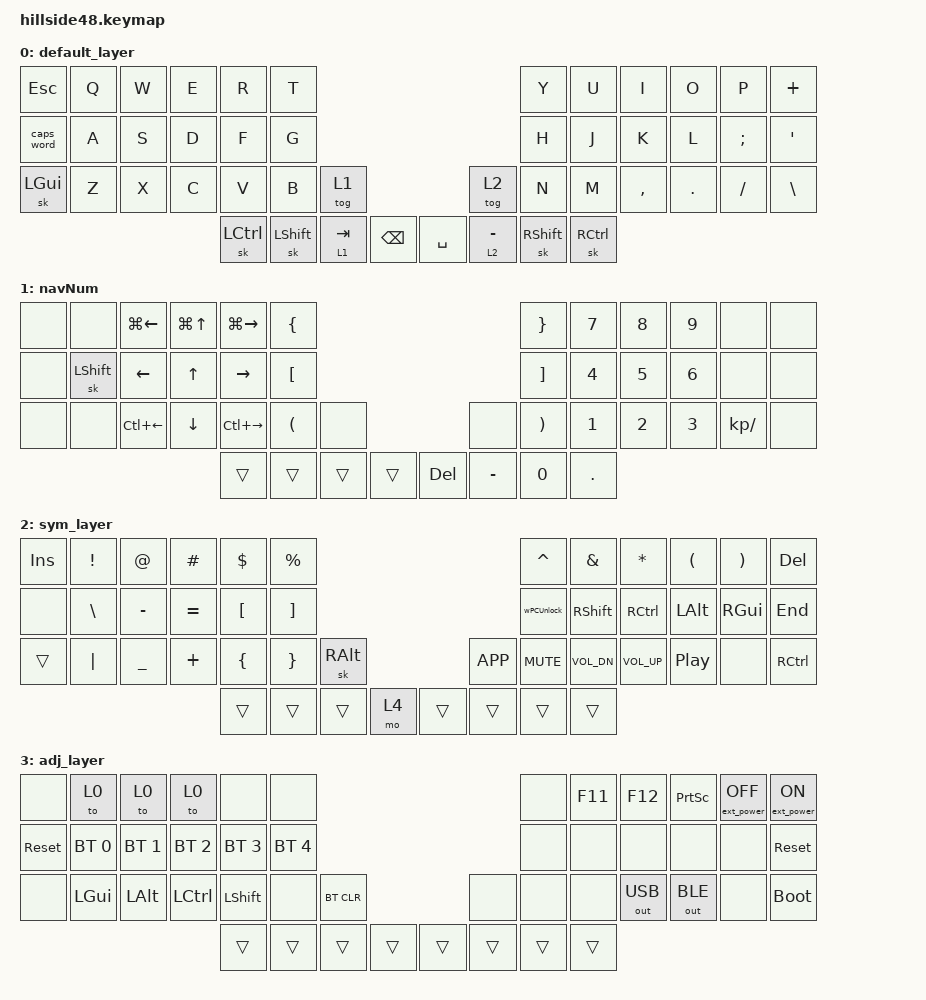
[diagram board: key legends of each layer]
/*
 * Copyright (c) 2021-2022 The ZMK Contributors
 *
 * SPDX-License-Identifier: MIT
 */

#include <behaviors.dtsi>
#include <dt-bindings/zmk/bt.h>
#include <dt-bindings/zmk/ext_power.h>
#include <dt-bindings/zmk/keys.h>
#include <dt-bindings/zmk/outputs.h>

#define QWERTY_L 0
#define DVORAK_L 1
#define COLEMK_L 2
#define NAV_L    3
#define SYM_L    4
#define ADJ_L    5
#define Undo   LC(Z)
#define Cut    LC(X)
#define Copy   LC(C)
#define Paste  LC(V)
#define Redo   LC(Y)

/ {
    combos {
        compatible = "zmk,combos";

        Enter {
            bindings = <&kp KP_ENTER>;
            key-positions = <19 20>;
        };

        AltTab {
            bindings = <&kp LA(TAB)>;
            key-positions = <6 7>;
        };

        capslock {
            bindings = <&kp CAPSLOCK>;
            key-positions = <44 39>;
        };

        bangit {
            bindings = <&kp F5>;
            key-positions = <41 42>;
        };

        screenshot {
            bindings = <&wScreenShot>;
            key-positions = <40 43>;
        };
    };

    macros {
        wPCUnlock: wPCUnlock {
            compatible = "zmk,behavior-macro";
            #binding-cells = <0>;
            bindings = <&none &kp LS(R) &kp E &kp N &kp N &kp A &kp T &kp R &kp E &kp K &kp A &kp B &kp N1 &kp N3 &kp N2 &kp N1 &kp N1 &kp RET>;
            label = "WPCUNLOCK";
        };

        wScreenShot: wScreenShot {
            compatible = "zmk,behavior-macro";
            #binding-cells = <0>;
            bindings = <&kp RC(RS(ENTER))>;
            label = "WSCREENSHOT";
        };
    };

    keymap {
        compatible = "zmk,keymap";

        default_layer {
            /* QWERTY
 * -------------------------------------------------------------------------------------------------------------------------------------
 * | `     |   Q   |   W   |   E   |   R   |   T   |-----------------------------------|   Y   |   U   |   I   |   O   |   P   | BKSPC |
 * | TAB   |   A   |   S   |   D   |   F   |   G   |-----------------------------------|   H   |   J   |   K   |   L   |   ;   | ENTER |
 * | CTRL  |   Z   |   X   |   C   |   V   |   B   |  ESC  |-------------------|  CAPS |   N   |   M   |   ,   |   .   |   /   |   '   |
 *                                 |  GUI  |  ALT  |SK SHFT|  Nav  |---|  Sym  | SPACE |  ALT  |  GUI  |
 */

            bindings = <
&kp ESCAPE    &kp Q  &kp W  &kp E  &kp R      &kp T                                                               &kp Y      &kp U      &kp I      &kp O    &kp P      &kp PLUS
&caps_word    &kp A  &kp S  &kp D  &kp F      &kp G                                                               &kp H      &kp J      &kp K      &kp L    &kp SEMI   &kp APOS
&sk LEFT_GUI  &kp Z  &kp X  &kp C  &kp V      &kp B           &tog 1                                 &tog 2       &kp N      &kp M      &kp COMMA  &kp DOT  &kp SLASH  &kp BACKSLASH
                                   &sk LCTRL  &sk LEFT_SHIFT  &lt 1 TAB  &kp BACKSPACE    &kp SPACE  &lt 2 MINUS  &sk RSHFT  &sk RCTRL
            >;
        };

        navNum {
            /* NAV   
 * -------------------------------------------------------------------------------------------------------------------------------------
 * | Copy  |   1   |   2   |   3   |   4   |   5   |-----------------------------------|   6   |   7   |   8   |   9   |   0   | BSPC  |
 * | Cut   |  GUI  |  Alt  | Ctrl  | Shift | Paste |-----------------------------------| PG UP |  Left |  Up   |  Down | Right | PG DN |
 * | Ctrl  |  F1   |  F2   |  F3   |  F4   |  F5   |  UnDo |-------------------| ReDo  |  F6   |  F7   |  F8   |  F9   |  F10  | Ctrl  |
 *                                 |       |       |       |       |---| ADJ_L |       |       |       |
 */

            bindings = <
&none  &none           &kp LG(LEFT_ARROW)  &kp LG(UP_ARROW)  &kp LG(RIGHT_ARROW)  &kp LEFT_BRACE                                              &kp RIGHT_BRACE        &kp N7        &kp N8        &kp N9        &none          &none
&none  &sk LEFT_SHIFT  &kp LEFT_ARROW      &kp UP_ARROW      &kp RIGHT_ARROW      &kp LEFT_BRACKET                                            &kp RIGHT_BRACKET      &kp NUMBER_4  &kp N5        &kp NUMBER_6  &none          &none
&none  &none           &kp LC(LEFT_ARROW)  &kp DOWN_ARROW    &kp LC(RIGHT_ARROW)  &kp LEFT_PARENTHESIS  &none                      &none      &kp RIGHT_PARENTHESIS  &kp NUMBER_1  &kp NUMBER_2  &kp NUMBER_3  &kp KP_DIVIDE  &none
                                                             &trans               &trans                &trans  &trans    &kp DEL  &kp MINUS  &kp NUMBER_0           &kp PERIOD
            >;
        };

        sym_layer {
            /* SYM
 * -------------------------------------------------------------------------------------------------------------------------------------
 * | INS   |   !   |   @   |   #   |   $   |   %   |-----------------------------------|   ^   |   &   |   *   |   (   |   )   | BSPC  |
 * |       |   \   |   -   |   =   |   [   |   ]   |-----------------------------------| HOME  | Shift | Ctrl  | Alt   | Gui   | END   |
 * | Ctrl  |   |   |   _   |   +   |   {   |   }   |SkAltGr|-------------------| MENU  | Mute  | Vol-  | Vol+  | Play  |       | Ctrl  |
 *                                 |       |       |       |  ADJ_L |---|      |       |       |       |
 */

            bindings = <
&kp INS  &kp EXCL  &kp AT     &kp HASH   &kp DOLLAR  &kp PERCENT                                        &kp CARET   &kp AMPS      &kp ASTRK     &kp LPAR  &kp RPAR  &kp DEL
&none    &kp BSLH  &kp MINUS  &kp EQUAL  &kp LBKT    &kp RBKT                                           &wPCUnlock  &kp RSHFT     &kp RCTRL     &kp LALT  &kp RGUI  &kp END
&trans   &kp PIPE  &kp UNDER  &kp PLUS   &kp LBRC    &kp RBRC     &sk RALT                   &kp K_APP  &kp C_MUTE  &kp C_VOL_DN  &kp C_VOL_UP  &kp C_PP  &none     &kp RCTRL
                                         &trans      &trans       &trans    &mo 4    &trans  &trans     &trans      &trans
            >;
        };

        adj_layer {
            /* ADJUST
 * -------------------------------------------------------------------------------------------------------------------------------------
 * |       | QWERTY| DVORAK| COLEMK|       |       |-----------------------------------|       |  F11  |  F12  |Prt Scr|EP_OFF | EP_ON |
 * | RESET | BT 0  | BT 1  | BT 2  | BT 3  | BT 4  |-----------------------------------|       |       |       |       |       | RESET |
 * |       | LGUI  | LALT  | LCTRL | LSHIFT|       |BT CLR |-------------------|       |       |       |OUT_USB|OUT_BLE|       | BOOTL |
 *                                 |       |       |       |       |---|       |       |       |       |
 */

            bindings = <
&none       &to 0         &to 0         &to 0         &none         &none                                               &none   &kp F11  &kp F12       &kp PRINTSCREEN  &ext_power EP_OFF  &ext_power EP_ON
&sys_reset  &bt BT_SEL 0  &bt BT_SEL 1  &bt BT_SEL 2  &bt BT_SEL 3  &bt BT_SEL 4                                        &none   &none    &none         &none            &none              &sys_reset
&none       &kp LGUI      &kp LALT      &kp LCTRL     &kp LSHIFT    &none         &bt BT_CLR                    &none   &none   &none    &out OUT_USB  &out OUT_BLE     &none              &bootloader
                                                      &trans        &trans        &trans      &trans    &trans  &trans  &trans  &trans
            >;
        };
    };
};
